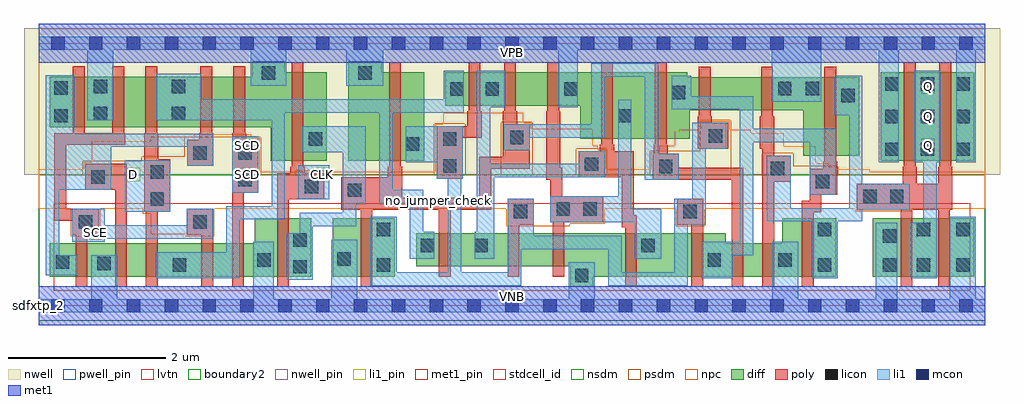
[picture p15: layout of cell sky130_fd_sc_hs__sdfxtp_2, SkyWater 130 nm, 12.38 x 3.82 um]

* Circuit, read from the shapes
.subckt sky130_fd_sc_hs__sdfxtp_2 CLK D Q SCD SCE VGND VNB VPB VPWR
XM1 VGND SCE n1 VNB sky130_fd_pr__nfet_01v8_lvt w=0.42 l=0.15
XM2 n2 n1 VGND VNB sky130_fd_pr__nfet_01v8_lvt w=0.42 l=0.15
XM3 n3 D n2 VNB sky130_fd_pr__nfet_01v8_lvt w=0.42 l=0.15
XM4 n4 SCE n3 VNB sky130_fd_pr__nfet_01v8_lvt w=0.42 l=0.15
XM5 VGND SCD n4 VNB sky130_fd_pr__nfet_01v8_lvt w=0.42 l=0.15
XM6 n5 CLK VGND VNB sky130_fd_pr__nfet_01v8_lvt w=0.74 l=0.15
XM7 n6 n5 VGND VNB sky130_fd_pr__nfet_01v8_lvt w=0.74 l=0.15
XM8 n7 n5 n3 VNB sky130_fd_pr__nfet_01v8_lvt w=0.42 l=0.15
XM9 n8 n6 n7 VNB sky130_fd_pr__nfet_01v8_lvt w=0.42 l=0.15
XM10 VGND n9 n8 VNB sky130_fd_pr__nfet_01v8_lvt w=0.42 l=0.15
XM11 n9 n7 VGND VNB sky130_fd_pr__nfet_01v8_lvt w=0.55 l=0.15
XM12 n10 n6 n9 VNB sky130_fd_pr__nfet_01v8_lvt w=0.55 l=0.15
XM13 n11 n5 n10 VNB sky130_fd_pr__nfet_01v8_lvt w=0.42 l=0.15
XM14 VGND n12 n11 VNB sky130_fd_pr__nfet_01v8_lvt w=0.42 l=0.15
XM15 n12 n10 VGND VNB sky130_fd_pr__nfet_01v8_lvt w=0.74 l=0.15
XM16 Q n12 VGND VNB sky130_fd_pr__nfet_01v8_lvt w=0.74 l=0.15 m=2
XM17 VPWR SCE n1 VPB sky130_fd_pr__pfet_01v8 w=0.64 l=0.15
XM18 n13 SCE VPWR VPB sky130_fd_pr__pfet_01v8 w=0.64 l=0.15
XM19 n3 D n13 VPB sky130_fd_pr__pfet_01v8 w=0.64 l=0.15
XM20 n14 n1 n3 VPB sky130_fd_pr__pfet_01v8 w=0.64 l=0.15
XM21 VPWR SCD n14 VPB sky130_fd_pr__pfet_01v8 w=0.64 l=0.15
XM22 n5 CLK VPWR VPB sky130_fd_pr__pfet_01v8 w=1.12 l=0.15
XM23 n6 n5 VPWR VPB sky130_fd_pr__pfet_01v8 w=1.12 l=0.15
XM24 n7 n6 n3 VPB sky130_fd_pr__pfet_01v8 w=0.42 l=0.15
XM25 n15 n5 n7 VPB sky130_fd_pr__pfet_01v8 w=0.42 l=0.15
XM26 VPWR n9 n15 VPB sky130_fd_pr__pfet_01v8 w=0.42 l=0.15
XM27 n9 n7 VPWR VPB sky130_fd_pr__pfet_01v8 w=0.84 l=0.15
XM28 n10 n5 n9 VPB sky130_fd_pr__pfet_01v8 w=0.84 l=0.15
XM29 n16 n6 n10 VPB sky130_fd_pr__pfet_01v8 w=0.42 l=0.15
XM30 VPWR n12 n16 VPB sky130_fd_pr__pfet_01v8 w=0.42 l=0.15
XM31 n12 n10 VPWR VPB sky130_fd_pr__pfet_01v8 w=1 l=0.15
XM32 Q n12 VPWR VPB sky130_fd_pr__pfet_01v8 w=1.12 l=0.15 m=2
.ends

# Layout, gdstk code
import gdstk
lib = gdstk.Library(unit=1e-6, precision=1e-09)
def R(c, l, rs):  # rectangles x0, y0, x1, y1
    for r in rs: c.add(gdstk.rectangle(r[:2], r[2:], *l))
def A(c, l, x, y, w, h, nx, ny, dx, dy):  # array of equal rectangles
    R(c, l, [(x+i*dx, y+j*dy, x+i*dx+w, y+j*dy+h) for i in range(nx) for j in range(ny)])
def P(c, l, *ps):  # polygons
    for p in ps: c.add(gdstk.Polygon(p, *l))
nwell_pin = (64, 16)
nwell = (64, 20)
diff = (65, 20)
poly = (66, 20)
licon = (66, 44)
li1_pin = (67, 16)
li1 = (67, 20)
mcon = (67, 44)
met1_pin = (68, 16)
met1 = (68, 20)
stdcell_id = (81, 4)
nsdm = (93, 44)
psdm = (94, 20)
npc = (95, 20)
pwell_pin = (122, 16)
lvtn = (125, 44)
boundary2 = (236, 0)

sky130_fd_sc_hs__sdfxtp_ = lib.new_cell('sky130_fd_sc_hs__sdfxtp_2')
R(sky130_fd_sc_hs__sdfxtp_, nwell_pin, [(0,3.085,12,3.33)])
R(sky130_fd_sc_hs__sdfxtp_, nwell, [(-0.19,1.66,12.19,3.52)])
R(sky130_fd_sc_hs__sdfxtp_, diff, [(3.725,0.37,4.515,1.11), (10.575,0.37,11.865,1.11), (10.675,1.84,11.865,2.96)])
P(sky130_fd_sc_hs__sdfxtp_, diff, [(3.455,1.11),(2.735,1.11),(2.735,0.79),(0.135,0.79),(0.135,0.37),(3.455,0.37)],
  [(3.65,2.96),(3.115,2.96),(3.115,3.1),(2.705,3.1),(2.705,2.905),(0.135,2.905),(0.135,2.265),(2.94,2.265),(2.94,1.84),(3.65,1.84)],
  [(4.885,2.96),(4.35,2.96),(4.35,3.1),(3.92,3.1),(3.92,1.84),(4.885,1.84)],
  [(10.11,1.11),(9.425,1.11),(9.425,0.79),(8.71,0.79),(8.71,0.92),(4.785,0.92),(4.785,0.5),(6.74,0.5),(6.74,0.24),(7.03,0.24),(7.03,0.37),(10.11,0.37)],
  [(10.405,2.9),(8.225,2.9),(8.225,2.96),(5.155,2.96),(5.155,2.54),(6.865,2.54),(6.865,2.12),(8.255,2.12),(8.255,2.48),(9.695,2.48),(9.695,1.9),(10.405,1.9)])
P(sky130_fd_sc_hs__sdfxtp_, poly, [(11.585,1.765),(11.57,1.765),(11.57,3.09),(11.42,3.09),(11.42,1.765),(11.405,1.765),(11.405,1.55),(11.135,1.55),(11.135,1.765),(11.12,1.765),(11.12,3.09),(10.97,3.09),(10.97,1.765),(10.955,1.765),(10.955,1.55),(10.375,1.55),(10.375,1.22),(10.93,1.22),(10.93,0.24),(11.08,0.24),(11.08,1.22),(11.405,1.22),(11.405,0.24),(11.555,0.24),(11.555,1.22),(11.585,1.22)],
  [(10.125,1.825),(10.11,1.825),(10.11,3.03),(9.96,3.03),(9.96,1.825),(9.945,1.825),(9.945,1.74),(9.775,1.74),(9.775,1.335),(9.675,1.335),(9.675,0.24),(9.825,0.24),(9.825,1.185),(9.925,1.185),(9.925,1.41),(10.125,1.41)],
  [(9.535,1.905),(9.325,1.905),(9.325,2.405),(9.31,2.405),(9.31,3.03),(9.16,3.03),(9.16,2.405),(9.145,2.405),(9.145,1.99),(9.175,1.99),(9.175,0.24),(9.325,0.24),(9.325,1.575),(9.535,1.575)],
  [(8.935,1.75),(8.115,1.75),(8.115,1.93),(7.975,1.93),(7.975,2.045),(7.96,2.045),(7.96,3.09),(7.81,3.09),(7.81,2.045),(7.795,2.045),(7.795,1.93),(7.785,1.93),(7.785,1.6),(8.785,1.6),(8.785,0.24),(8.935,0.24)],
  [(8.745,2.32),(8.535,2.32),(8.535,2.405),(8.52,2.405),(8.52,3.03),(8.37,3.03),(8.37,2.405),(8.355,2.405),(8.355,1.99),(8.745,1.99)],
  [(8.425,1.36),(8.095,1.36),(8.095,1.03),(8.275,1.03),(8.275,0.24),(8.425,0.24)],
  [(7.585,1.145),(7.545,1.145),(7.545,1.96),(7.295,1.96),(7.295,2.045),(7.28,2.045),(7.28,3.09),(7.13,3.09),(7.13,2.045),(7.115,2.045),(7.115,1.96),(6.845,1.96),(6.845,1.63),(7.395,1.63),(7.395,0.995),(7.435,0.995),(7.435,0.24),(7.585,0.24)],
  [(7.155,1.39),(6.635,1.39),(6.635,1.75),(6.615,1.75),(6.615,2.465),(6.6,2.465),(6.6,3.09),(6.45,3.09),(6.45,2.465),(6.435,2.465),(6.435,1.6),(6.485,1.6),(6.485,1.06),(6.515,1.06),(6.515,0.37),(6.665,0.37),(6.665,1.06),(7.155,1.06)],
  [(6.275,1.36),(5.945,1.36),(5.945,0.37),(6.095,0.37),(6.095,1.03),(6.275,1.03)],
  [(6.225,2.3),(6.065,2.3),(6.065,2.465),(6.05,2.465),(6.05,3.09),(5.9,3.09),(5.9,2.465),(5.885,2.465),(5.885,1.89),(5.585,1.89),(5.585,1.37),(4.605,1.37),(4.605,1.765),(4.59,1.765),(4.59,3.09),(4.44,3.09),(4.44,1.765),(4.425,1.765),(4.425,1.63),(3.835,1.63),(3.835,1.22),(4.08,1.22),(4.08,0.24),(4.23,0.24),(4.23,1.22),(5.07,1.22),(5.07,0.37),(5.22,0.37),(5.22,1.22),(5.735,1.22),(5.735,1.74),(6.225,1.74)],
  [(5.615,2.465),(5.6,2.465),(5.6,3.09),(5.45,3.09),(5.45,2.465),(5.435,2.465),(5.435,2.28),(5.045,2.28),(5.045,1.61),(5.375,1.61),(5.375,2.13),(5.615,2.13)],
  [(3.62,1.68),(3.37,1.68),(3.37,1.765),(3.355,1.765),(3.355,3.09),(3.205,3.09),(3.205,1.765),(3.19,1.765),(3.19,1.68),(3.02,1.68),(3.02,0.24),(3.17,0.24),(3.17,1.35),(3.62,1.35)],
  [(2.78,2.105),(2.63,2.105),(2.63,2.19),(2.615,2.19),(2.615,3.035),(2.465,3.035),(2.465,2.19),(2.45,2.19),(2.45,0.24),(2.6,0.24),(2.6,1.435),(2.78,1.435)],
  [(2.21,1.23),(1.875,1.23),(1.875,0.9),(2.06,0.9),(2.06,0.24),(2.21,0.24)],
  [(2.21,2.19),(2.195,2.19),(2.195,3.035),(2.045,3.035),(2.045,2.19),(2.03,2.19),(2.03,2.105),(1.88,2.105),(1.88,1.775),(2.21,1.775)],
  [(1.665,1.86),(1.515,1.86),(1.515,2.19),(1.5,2.19),(1.5,3.035),(1.35,3.035),(1.35,2.19),(1.335,2.19),(1.335,1.19),(1.355,1.19),(1.355,0.24),(1.505,0.24),(1.505,1.19),(1.665,1.19)],
  [(1.115,1.8),(0.585,1.8),(0.585,1.47),(0.965,1.47),(0.965,0.24),(1.115,0.24)],
  [(1.095,2.19),(1.08,2.19),(1.08,3.035),(0.93,3.035),(0.93,2.19),(0.58,2.19),(0.58,3.035),(0.43,3.035),(0.43,2.19),(0.195,2.19),(0.195,1.08),(0.425,1.08),(0.425,0.9),(0.465,0.9),(0.465,0.24),(0.615,0.24),(0.615,0.9),(0.755,0.9),(0.755,1.23),(0.345,1.23),(0.345,2.04),(1.095,2.04)])
A(sky130_fd_sc_hs__sdfxtp_, licon, 10.735, 1.9, 0.17, 0.17, 3, 3, 0.45, 0.415)
R(sky130_fd_sc_hs__sdfxtp_, licon, [(6.8,0.3,6.97,0.47), (3.225,0.41,3.395,0.58), (1.695,0.43,1.865,0.6), (4.285,0.43,4.455,0.6), (9.88,0.43,10.05,0.6), (10.705,0.43,10.875,0.6), (11.135,0.43,11.305,0.6), (11.635,0.43,11.805,0.6), (0.74,0.45,0.91,0.62), (0.215,0.47,0.385,0.64), (2.77,0.495,2.94,0.665), (8.48,0.495,8.65,0.665), (9.38,0.495,9.55,0.665), (3.785,0.51,3.955,0.68), (4.845,0.68,5.015,0.85), (5.525,0.68,5.695,0.85), (7.64,0.68,7.81,0.85), (3.225,0.75,3.395,0.92), (10.705,0.8,10.875,0.97), (4.285,0.88,4.455,1.05), (9.88,0.88,10.05,1.05), (11.135,0.88,11.305,1.05), (11.635,0.88,11.805,1.05), (0.505,0.98,0.675,1.15), (1.955,0.98,2.125,1.15), (6.025,1.11,6.195,1.28), (8.175,1.11,8.345,1.28), (6.565,1.14,6.735,1.31), (6.905,1.14,7.075,1.31), (1.415,1.27,1.585,1.44), (10.455,1.3,10.625,1.47), (10.795,1.3,10.965,1.47), (3.915,1.38,4.085,1.55), (3.37,1.43,3.54,1.6), (9.855,1.49,10.025,1.66), (2.53,1.515,2.7,1.685), (0.665,1.55,0.835,1.72), (1.415,1.61,1.585,1.78), (9.285,1.655,9.455,1.825), (7.865,1.68,8.035,1.85), (5.125,1.69,5.295,1.86), (6.925,1.71,7.095,1.88), (1.96,1.855,2.13,2.025), (2.53,1.855,2.7,2.025), (4.655,1.965,4.825,2.135), (3.42,2.03,3.59,2.2), (5.125,2.03,5.295,2.2), (5.975,2.05,6.145,2.22), (8.495,2.07,8.665,2.24), (0.195,2.325,0.365,2.495), (7.345,2.325,7.515,2.495), (0.695,2.355,0.865,2.525), (1.685,2.355,1.855,2.525), (10.175,2.58,10.345,2.75), (8.025,2.62,8.195,2.79), (5.215,2.665,5.385,2.835), (5.665,2.665,5.835,2.835), (6.665,2.665,6.835,2.835), (9.375,2.67,9.545,2.84), (9.725,2.67,9.895,2.84), (0.195,2.675,0.365,2.845), (0.695,2.695,0.865,2.865), (1.685,2.695,1.855,2.865), (2.825,2.87,2.995,3.04), (4.05,2.87,4.22,3.04)])
A(sky130_fd_sc_hs__sdfxtp_, li1_pin, 11.195, 1.95, 0.17, 0.17, 1, 3, 0, 0.37)
R(sky130_fd_sc_hs__sdfxtp_, li1_pin, [(0.635,0.84,0.805,1.01), (1.115,1.58,1.285,1.75), (2.555,1.58,2.725,1.75), (3.515,1.58,3.685,1.75), (2.555,1.95,2.725,2.12)])
R(sky130_fd_sc_hs__sdfxtp_, li1, [(1.085,1.19,1.665,1.845), (3.29,1.35,3.685,1.78), (2.45,1.435,2.78,2.15)])
P(sky130_fd_sc_hs__sdfxtp_, li1, [(0,3.245),(0,3.415),(12,3.415),(12,3.245),(11.885,3.245),(11.885,1.82),(11.635,1.82),(11.635,3.245),(10.905,3.245),(10.905,1.82),(10.655,1.82),(10.655,3.245),(9.925,3.245),(9.925,2.59),(9.295,2.59),(9.295,3.245),(6.835,3.245),(6.835,2.52),(6.585,2.52),(6.585,3.245),(4.37,3.245),(4.37,2.79),(3.9,2.79),(3.9,3.245),(3.135,3.245),(3.135,2.79),(2.685,2.79),(2.685,3.245),(0.945,3.245),(0.945,2.355),(0.615,2.355),(0.615,3.245)],
  [(0.66,0.085),(0.66,0.64),(0.99,0.64),(0.99,0.085),(2.715,0.085),(2.715,0.81),(2.975,0.81),(2.975,0.085),(3.705,0.085),(3.705,0.84),(4.035,0.84),(4.035,0.085),(6.72,0.085),(6.72,0.55),(7.05,0.55),(7.05,0.085),(9.3,0.085),(9.3,0.81),(9.63,0.81),(9.63,0.085),(10.615,0.085),(10.615,1.05),(10.885,1.05),(10.885,0.085),(11.555,0.085),(11.555,1.13),(11.885,1.13),(11.885,0.085),(12,0.085),(12,-0.085),(0,-0.085),(0,0.085)],
  [(0.835,1.02),(1.875,1.02),(1.875,1.23),(2.205,1.23),(2.205,0.85),(0.835,0.85),(0.835,0.81),(0.425,0.81),(0.425,1.23),(0.835,1.23)],
  [(11.105,1.82),(11.105,2.98),(11.435,2.98),(11.435,1.82),(11.385,1.82),(11.385,0.35),(11.055,0.35),(11.055,1.05),(11.215,1.05),(11.215,1.82)],
  [(11.045,1.55),(10.445,1.55),(10.445,2.92),(10.095,2.92),(10.095,2.415),(10.275,2.415),(10.275,1.24),(9.535,1.24),(9.535,1.905),(9.23,1.905),(9.23,1.07),(9.8,1.07),(9.8,0.35),(10.13,0.35),(10.13,1.07),(10.445,1.07),(10.445,1.22),(11.045,1.22)],
  [(5.725,2.52),(5.725,1.8),(6.845,1.8),(6.845,1.96),(7.175,1.96),(7.175,1.63),(5.775,1.63),(5.775,0.595),(5.525,0.595),(5.525,0.94),(5.555,0.94),(5.555,2.98),(5.915,2.98),(5.915,2.52)],
  [(4.145,2.28),(4.145,1.3),(4.025,1.3),(4.025,1.01),(3.475,1.01),(3.475,0.33),(3.145,0.33),(3.145,0.92),(3.305,0.92),(3.305,1.18),(3.855,1.18),(3.855,1.95),(3.34,1.95),(3.34,2.28)],
  [(2.06,2.62),(5.135,2.62),(5.135,2.98),(5.385,2.98),(5.385,2.45),(4.485,2.45),(4.485,1.47),(4.875,1.47),(4.875,0.94),(5.015,0.94),(5.015,0.595),(4.705,0.595),(4.705,1.3),(4.315,1.3),(4.315,2.45),(3.12,2.45),(3.12,1.095),(2.545,1.095),(2.545,0.35),(1.48,0.35),(1.48,0.68),(2.375,0.68),(2.375,1.265),(2.95,1.265),(2.95,2.355),(1.485,2.355),(1.485,2.945),(2.06,2.945)],
  [(0.445,2.185),(2.21,2.185),(2.21,1.775),(1.88,1.775),(1.88,2.015),(0.915,2.015),(0.915,1.47),(0.255,1.47),(0.255,0.64),(0.49,0.64),(0.49,0.39),(0.085,0.39),(0.085,2.925),(0.445,2.925)],
  [(8.89,0.81),(8.89,2.49),(8.025,2.49),(8.025,2.92),(8.275,2.92),(8.275,2.66),(9.06,2.66),(9.06,2.245),(10.105,2.245),(10.105,1.41),(9.775,1.41),(9.775,2.075),(9.06,2.075),(9.06,0.64),(8.795,0.64),(8.795,0.35),(8.4,0.35),(8.4,0.81)],
  [(6.275,0.89),(7.39,0.89),(7.39,0.425),(8.06,0.425),(8.06,1.36),(8.285,1.36),(8.285,2.32),(8.72,2.32),(8.72,1.99),(8.455,1.99),(8.455,1.03),(8.23,1.03),(8.23,0.255),(7.22,0.255),(7.22,0.72),(6.115,0.72),(6.115,0.255),(4.205,0.255),(4.205,1.13),(4.535,1.13),(4.535,0.425),(5.185,0.425),(5.185,1.61),(5.045,1.61),(5.045,1.82),(4.655,1.82),(4.655,2.28),(5.375,2.28),(5.375,1.61),(5.355,1.61),(5.355,0.425),(5.945,0.425),(5.945,1.36),(6.275,1.36)],
  [(7.515,1.23),(7.89,1.23),(7.89,0.595),(7.56,0.595),(7.56,1.06),(6.485,1.06),(6.485,1.39),(7.345,1.39),(7.345,2.61),(7.515,2.61)],
  [(7.685,2.905),(7.175,2.905),(7.175,2.13),(6.225,2.13),(6.225,1.97),(5.895,1.97),(5.895,2.3),(7.005,2.3),(7.005,3.075),(7.855,3.075),(7.855,1.93),(8.115,1.93),(8.115,1.6),(7.685,1.6)])
A(sky130_fd_sc_hs__sdfxtp_, mcon, 0.155, -0.085, 0.17, 0.17, 25, 2, 0.48, 3.33)
R(sky130_fd_sc_hs__sdfxtp_, met1_pin, [(0,0,12,0.245), (0,3.085,12,3.33)])
R(sky130_fd_sc_hs__sdfxtp_, met1, [(0,-0.245,12,0.245), (0,3.085,12,3.575)])
R(sky130_fd_sc_hs__sdfxtp_, stdcell_id, [(0,0,12,3.33)])
R(sky130_fd_sc_hs__sdfxtp_, nsdm, [(0,-0.19,12,1.66)])
P(sky130_fd_sc_hs__sdfxtp_, psdm, [(12,3.52),(0,3.52),(0,1.66),(0.555,1.66),(0.555,1.83),(1.305,1.83),(1.305,1.89),(1.85,1.89),(1.85,2.135),(2.81,2.135),(2.81,1.66),(3.26,1.66),(3.26,1.71),(3.65,1.71),(3.65,1.66),(5.015,1.66),(5.015,2.31),(5.405,2.31),(5.405,1.66),(5.865,1.66),(5.865,2.33),(6.255,2.33),(6.255,1.66),(6.815,1.66),(6.815,1.99),(7.205,1.99),(7.205,1.66),(7.755,1.66),(7.755,1.96),(8.385,1.96),(8.385,2.35),(8.775,2.35),(8.775,1.66),(9.175,1.66),(9.175,1.935),(9.565,1.935),(9.565,1.77),(10.135,1.77),(10.135,1.66),(12,1.66)])
P(sky130_fd_sc_hs__sdfxtp_, npc, [(12,1.7),(10.535,1.7),(10.535,1.73),(10.125,1.73),(10.125,1.76),(10.02,1.76),(10.02,1.81),(9.855,1.81),(9.855,2.025),(9.45,2.025),(9.45,2.19),(9.03,2.19),(9.03,2.235),(8.765,2.235),(8.765,2.34),(8.395,2.34),(8.395,2.235),(8.13,2.235),(8.13,2.215),(8.065,2.215),(8.065,2.03),(7.87,2.03),(7.87,1.95),(7.765,1.95),(7.765,1.73),(7.195,1.73),(7.195,1.98),(7.09,1.98),(7.09,2.03),(7.025,2.03),(7.025,2.245),(6.245,2.245),(6.245,2.32),(6.14,2.32),(6.14,2.45),(5.13,2.45),(5.13,2.3),(5.025,2.3),(5.025,1.7),(2.8,1.7),(2.8,2.125),(2.695,2.125),(2.695,2.175),(1.965,2.175),(1.965,2.145),(1.42,2.145),(1.42,2.085),(0.67,2.085),(0.67,1.82),(0.565,1.82),(0.565,1.73),(0,1.73),(0,1.23),(0.405,1.23),(0.405,0.88),(0.775,0.88),(0.775,1.23),(1.315,1.23),(1.315,1.17),(1.42,1.17),(1.42,0.905),(1.855,0.905),(1.855,0.88),(2.225,0.88),(2.225,1.23),(5.925,1.23),(5.925,1.01),(6.73,1.01),(6.73,1.04),(7.175,1.04),(7.175,1.23),(8.075,1.23),(8.075,1.01),(8.445,1.01),(8.445,1.23),(10.355,1.23),(10.355,1.2),(11.065,1.2),(11.065,1.23),(12,1.23)])
R(sky130_fd_sc_hs__sdfxtp_, pwell_pin, [(0,0,12,0.245)])
R(sky130_fd_sc_hs__sdfxtp_, lvtn, [(0.19,0.19,11.81,1.3)])
R(sky130_fd_sc_hs__sdfxtp_, boundary2, [(0,0,12,3.33)])
sky130_fd_sc_hs__sdfxtp_.add(gdstk.Label('sdfxtp_2', (0,0), layer=83, texttype=44))
sky130_fd_sc_hs__sdfxtp_.add(gdstk.Label('no_jumper_check', (5.065,1.34), layer=83, texttype=44))
sky130_fd_sc_hs__sdfxtp_.add(gdstk.Label('VNB', (6,0.123), layer=64, texttype=59))
sky130_fd_sc_hs__sdfxtp_.add(gdstk.Label('VPB', (6,3.208), layer=64, texttype=5))
sky130_fd_sc_hs__sdfxtp_.add(gdstk.Label('VPWR', (6,3.208), layer=68, texttype=5))
sky130_fd_sc_hs__sdfxtp_.add(gdstk.Label('VGND', (6,0.123), layer=68, texttype=5))
sky130_fd_sc_hs__sdfxtp_.add(gdstk.Label('SCE', (0.72,0.925), layer=67, texttype=5))
sky130_fd_sc_hs__sdfxtp_.add(gdstk.Label('CLK', (3.6,1.665), layer=67, texttype=5))
sky130_fd_sc_hs__sdfxtp_.add(gdstk.Label('D', (1.2,1.665), layer=67, texttype=5))
sky130_fd_sc_hs__sdfxtp_.add(gdstk.Label('SCD', (2.64,1.665), layer=67, texttype=5))
sky130_fd_sc_hs__sdfxtp_.add(gdstk.Label('SCD', (2.64,2.035), layer=67, texttype=5))
sky130_fd_sc_hs__sdfxtp_.add(gdstk.Label('Q', (11.28,2.035), layer=67, texttype=5))
sky130_fd_sc_hs__sdfxtp_.add(gdstk.Label('Q', (11.28,2.405), layer=67, texttype=5))
sky130_fd_sc_hs__sdfxtp_.add(gdstk.Label('Q', (11.28,2.775), layer=67, texttype=5))

lib.write_gds('sky130_fd_sc_hs__sdfxtp_2.gds')
